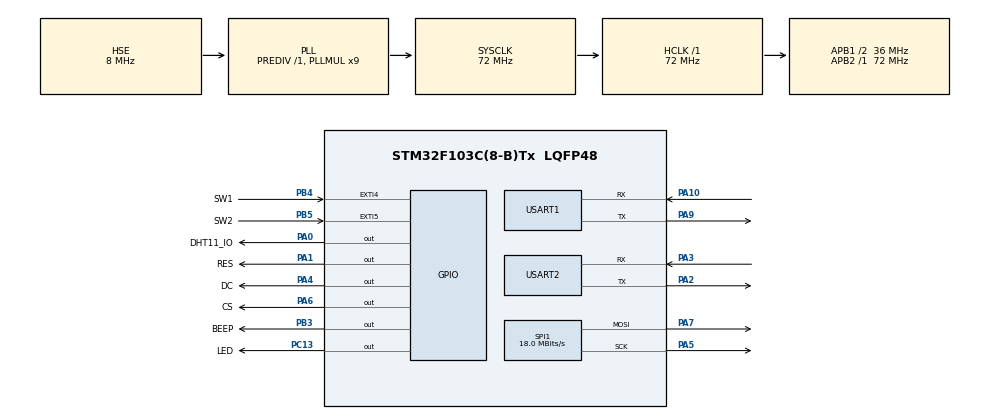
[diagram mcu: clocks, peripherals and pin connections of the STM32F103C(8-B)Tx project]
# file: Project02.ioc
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Mcu.Family=STM32F1
Mcu.Name=STM32F103C(8-B)Tx
Mcu.Package=LQFP48
NVIC.EXTI4_IRQn=true\:5\:0\:true\:false\:true\:true\:true\:true
NVIC.EXTI9_5_IRQn=true\:5\:0\:true\:false\:true\:true\:true\:true
NVIC.PriorityGroup=NVIC_PRIORITYGROUP_4
NVIC.USART1_IRQn=true\:3\:0\:true\:false\:true\:true\:true\:true
NVIC.USART2_IRQn=true\:3\:0\:true\:false\:true\:true\:true\:true
PA0-WKUP.GPIO_Label=DHT11_IO
PA0-WKUP.GPIO_PuPd=GPIO_PULLDOWN
PA0-WKUP.GPIO_Speed=GPIO_SPEED_FREQ_HIGH
PA0-WKUP.Signal=GPIO_Output
PA1.GPIO_Label=RES
PA1.Signal=GPIO_Output
PA10.Mode=Asynchronous
PA10.Signal=USART1_RX
PA13.Mode=Serial_Wire
PA13.Signal=SYS_JTMS-SWDIO
PA14.Mode=Serial_Wire
PA14.Signal=SYS_JTCK-SWCLK
PA2.Mode=Asynchronous
PA2.Signal=USART2_TX
PA3.Mode=Asynchronous
PA3.Signal=USART2_RX
PA4.GPIO_Label=DC
PA4.Signal=GPIO_Output
PA5.Mode=TX_Only_Simplex_Unidirect_Master
PA5.Signal=SPI1_SCK
PA6.GPIO_Label=CS
PA6.Signal=GPIO_Output
PA7.Mode=TX_Only_Simplex_Unidirect_Master
PA7.Signal=SPI1_MOSI
PA9.Mode=Asynchronous
PA9.Signal=USART1_TX
PB3.GPIO_Label=BEEP
PB3.PinState=GPIO_PIN_SET
PB3.Signal=GPIO_Output
PB4.GPIO_Label=SW1
PB4.GPIO_PuPd=GPIO_PULLUP
PB4.Signal=GPXTI4
PB5.GPIO_Label=SW2
PB5.GPIO_PuPd=GPIO_PULLUP
PB5.Signal=GPXTI5
PC13-TAMPER-RTC.GPIO_Label=LED
PC13-TAMPER-RTC.PinState=GPIO_PIN_SET
PC13-TAMPER-RTC.Signal=GPIO_Output
PD0-OSC_IN.Mode=HSE-External-Oscillator
PD0-OSC_IN.Signal=RCC_OSC_IN
PD1-OSC_OUT.Mode=HSE-External-Oscillator
PD1-OSC_OUT.Signal=RCC_OSC_OUT
ProjectManager.HeapSize=0x200
ProjectManager.StackSize=0x400
ProjectManager.TargetToolchain=MDK-ARM V5.32
RCC.AHBFreq_Value=72000000
RCC.APB1CLKDivider=RCC_HCLK_DIV2
RCC.APB1Freq_Value=36000000
RCC.APB1TimFreq_Value=72000000
RCC.APB2Freq_Value=72000000
RCC.APB2TimFreq_Value=72000000
RCC.HCLKFreq_Value=72000000
RCC.PLLMUL=RCC_PLL_MUL9
RCC.PLLSourceVirtual=RCC_PLLSOURCE_HSE
RCC.SYSCLKFreq_VALUE=72000000
RCC.SYSCLKSource=RCC_SYSCLKSOURCE_PLLCLK
RCC.USBFreq_Value=72000000
SPI1.BaudRatePrescaler=SPI_BAUDRATEPRESCALER_4
SPI1.CalculateBaudRate=18.0 MBits/s
SPI1.Direction=SPI_DIRECTION_2LINES
SPI1.Mode=SPI_MODE_MASTER
SPI1.VirtualType=VM_MASTER
TIM1.Prescaler=7.2-1
USART1.VirtualMode=VM_ASYNC
USART2.VirtualMode=VM_ASYNC
VP_TIM1_VS_ClockSourceINT.Mode=Internal
board=custom

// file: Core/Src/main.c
/* USER CODE BEGIN Header */
/**
  ******************************************************************************
  * @file           : main.c
  * @brief          : Main program body
  ******************************************************************************
  * @attention
  *
  * Copyright (c) 2022 STMicroelectronics.
  * All rights reserved.
  *
  * This software is licensed under terms that can be found in the LICENSE file
  * in the root directory of this software component.
  * If no LICENSE file comes with this software, it is provided AS-IS.
  *
  ******************************************************************************
  */
/* USER CODE END Header */
#include "main.h"
#include "spi.h"
#include "tim.h"
#include "usart.h"
#include "gpio.h"

/* USER CODE BEGIN Includes */
#include "hal_temp_hum.h"
#include "esp8266_at.h"
#include "esp8266_mqtt.h"
#include "Link_xxCould.h"
#include "oled.h"
/* USER CODE END Includes */

void SystemClock_Config(void);

int main(void)
{

  /* MCU Configuration--------------------------------------------------------*/

  /* Reset of all peripherals, Initializes the Flash interface and the Systick. */
  HAL_Init();

  /* Configure the system clock */
  SystemClock_Config();

  /* Initialize all configured peripherals */
  MX_GPIO_Init();
  MX_SPI1_Init();
  MX_USART1_UART_Init();
  MX_USART2_UART_Init();
  MX_TIM1_Init();
  /* USER CODE BEGIN 2 */
	HAL_UART_Receive_IT(&huart1,usart1_rxone,1);			//打开USART1中断，接收订阅消息
	ES8266_MQTT_Init();
  /* USER CODE END 2 */

  /* Infinite loop */
  /* USER CODE BEGIN WHILE */

	uint16_t Counter_RUNLED_Blink = 0;
	uint16_t Counter_RUNInfo_Send = 0;
	uint16_t Counter_MQTT_Heart = 0;
	uint16_t Counter_StatusReport = 0;
  while (1)
  {
    /* USER CODE END WHILE */

    /* USER CODE BEGIN 3 */
  //		//运行灯闪烁
//		if(Counter_RUNLED_Blink++>COUNTER_LEDBLINK)
//		{
//			Counter_RUNLED_Blink = 0;
//			HAL_GPIO_TogglePin(LED_G_GPIO_Port,LED_G_Pin);
//		}

		//运行状态打印
		if(Counter_RUNInfo_Send++>COUNTER_RUNINFOSEND)
		{
			Counter_RUNInfo_Send = 0;
			user_main_info("程序正在运行！\r\n");
		}

		//心跳包发送
//		if(Counter_MQTT_Heart++>COUNTER_MQTTHEART)
//		{
//			Counter_MQTT_Heart = 0;
//			MQTT_SentHeart();
//		}

		//本机状态上报
		if(Counter_StatusReport++>COUNTER_STATUSREPORT)
		{
			Counter_StatusReport = 0;
			STM32_StatusReport();
		}

		//如果接收缓存有数据
		if(usart1_rxcounter)
		{
			deal_MQTT_message(usart1_rxbuf,usart1_rxcounter);
		}

		HAL_Delay(LOOPTIME);

  }
  /* USER CODE END 3 */
}

void SystemClock_Config(void)
{
  RCC_OscInitTypeDef RCC_OscInitStruct = {0};
  RCC_ClkInitTypeDef RCC_ClkInitStruct = {0};

  /** Initializes the RCC Oscillators according to the specified parameters
  * in the RCC_OscInitTypeDef structure.
  */
  RCC_OscInitStruct.OscillatorType = RCC_OSCILLATORTYPE_HSE;
  RCC_OscInitStruct.HSEState = RCC_HSE_ON;
  RCC_OscInitStruct.HSEPredivValue = RCC_HSE_PREDIV_DIV1;
  RCC_OscInitStruct.HSIState = RCC_HSI_ON;
  RCC_OscInitStruct.PLL.PLLState = RCC_PLL_ON;
  RCC_OscInitStruct.PLL.PLLSource = RCC_PLLSOURCE_HSE;
  RCC_OscInitStruct.PLL.PLLMUL = RCC_PLL_MUL9;
  if (HAL_RCC_OscConfig(&RCC_OscInitStruct) != HAL_OK)
  {
    Error_Handler();
  }

  /** Initializes the CPU, AHB and APB buses clocks
  */
  RCC_ClkInitStruct.ClockType = RCC_CLOCKTYPE_HCLK|RCC_CLOCKTYPE_SYSCLK
                              |RCC_CLOCKTYPE_PCLK1|RCC_CLOCKTYPE_PCLK2;
  RCC_ClkInitStruct.SYSCLKSource = RCC_SYSCLKSOURCE_PLLCLK;
  RCC_ClkInitStruct.AHBCLKDivider = RCC_SYSCLK_DIV1;
  RCC_ClkInitStruct.APB1CLKDivider = RCC_HCLK_DIV2;
  RCC_ClkInitStruct.APB2CLKDivider = RCC_HCLK_DIV1;

  if (HAL_RCC_ClockConfig(&RCC_ClkInitStruct, FLASH_LATENCY_2) != HAL_OK)
  {
    Error_Handler();
  }
}

/* USER CODE BEGIN 4 */

/******************************  USART1接收中断代码  *****************************/

// ES8266驱动串口接收中断处理函数
void HAL_UART_RxCpltCallback(UART_HandleTypeDef *huart)
{
	if(huart->Instance == USART1)	// 判断是由哪个串口触发的中断
	{
		//将接收到的数据放入接收usart1接收数组
		usart1_rxbuf[usart1_rxcounter] = usart1_rxone[0];
		usart1_rxcounter++;	//接收数量＋1

		//重新使能串口1接收中断
		HAL_UART_Receive_IT(&huart1,usart1_rxone,1);
	}
}

/******************************  按键中断代码  *****************************/

//KEY1按下动作执行函数
void KEY1_Pressed(void)
{
	user_main_debug("我按下了KEY_1\r\n");
	Change_LED_Status();
}

//KEY2按下动作执行函数
void KEY2_Pressed(void)
{
	user_main_debug("我按下了KEY_2\r\n");
}

//按键中断处理函数
void HAL_GPIO_EXTI_Callback(uint16_t GPIO_Pin)
{
    switch(GPIO_Pin)
    {
        case SW1_Pin:KEY1_Pressed();break;
        case SW2_Pin:KEY2_Pressed();break;
        default:break;
    }
}

/* USER CODE END 4 */

void Error_Handler(void)
{
  __disable_irq();
  while (1)
  {
  }
}
